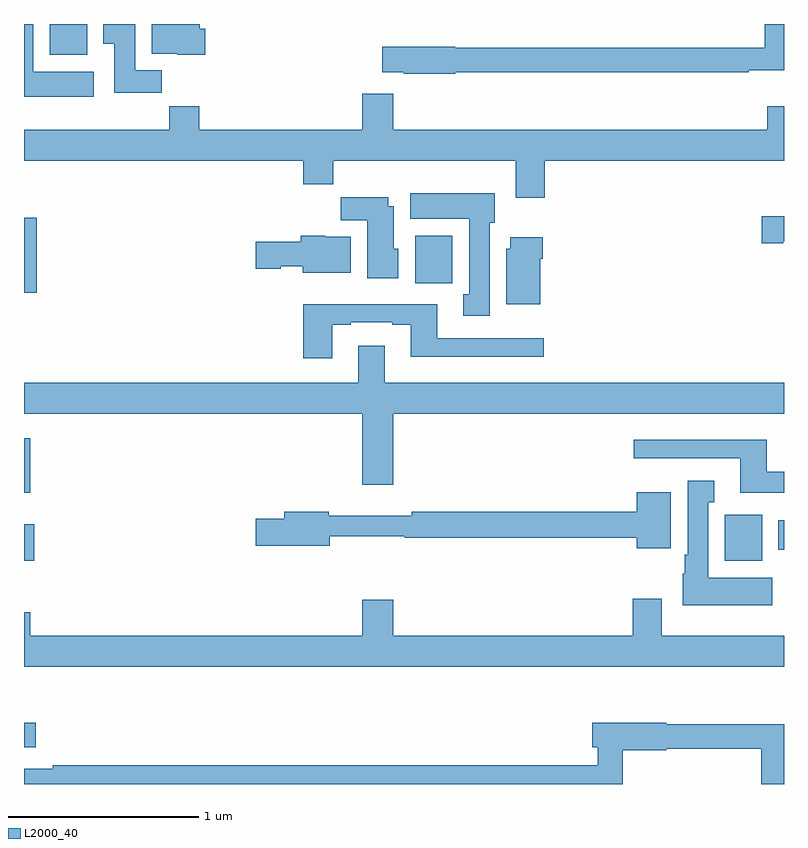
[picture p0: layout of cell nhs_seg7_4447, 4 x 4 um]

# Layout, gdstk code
import gdstk
lib = gdstk.Library(unit=1e-6, precision=1e-09)
def R(c, l, rs):  # rectangles x0, y0, x1, y1
    for r in rs: c.add(gdstk.rectangle(r[:2], r[2:], *l))
def P(c, l, *ps):  # polygons
    for p in ps: c.add(gdstk.Polygon(p, *l))
L2000_40 = (2000, 40)

nhs_seg7_4447 = lib.new_cell('nhs_seg7_4447')
R(nhs_seg7_4447, L2000_40, [(391,1000.193,391.063,1000.323), (391,1001.174,391.054,1001.368), (394.688,1001.174,394.885,1001.416), (394.97,1001.233,395,1001.389), (391,1001.534,391.034,1001.821), (391,1002.585,391.067,1002.979), (393.059,1002.636,393.255,1002.886), (391.136,1003.838,391.333,1004)])
P(nhs_seg7_4447, L2000_40, [(393.27,1003.746),(394.814,1003.746),(394.814,1003.757),(395,1003.757),(395,1004),(394.898,1004),(394.898,1003.874),(393.27,1003.874),(393.27,1003.88),(392.886,1003.88),(392.886,1003.745),(392.998,1003.745),(392.998,1003.738),(393.27,1003.738)],
  [(391.955,1003.974),(391.924,1003.974),(391.924,1004),(391.673,1004),(391.673,1003.844),(391.806,1003.844),(391.806,1003.838),(391.955,1003.838)],
  [(391.724,1003.756),(391.585,1003.756),(391.585,1004),(391.418,1004),(391.418,1003.897),(391.475,1003.897),(391.475,1003.638),(391.724,1003.638)],
  [(391.366,1003.75),(391.048,1003.75),(391.048,1004),(391,1004),(391,1003.616),(391.366,1003.616)],
  [(393.74,1003.28),(395,1003.28),(395,1003.568),(394.913,1003.568),(394.913,1003.444),(392.944,1003.444),(392.944,1003.633),(392.78,1003.633),(392.78,1003.444),(391.922,1003.444),(391.922,1003.568),(391.765,1003.568),(391.765,1003.444),(391,1003.444),(391,1003.28),(392.471,1003.28),(392.471,1003.156),(392.627,1003.156),(392.627,1003.28),(393.587,1003.28),(393.587,1003.086),(393.74,1003.086)],
  [(393.451,1002.954),(393.478,1002.954),(393.478,1003.108),(393.032,1003.108),(393.032,1002.974),(393.344,1002.974),(393.344,1002.577),(393.311,1002.577),(393.311,1002.465),(393.451,1002.465)],
  [(392.971,1002.816),(392.947,1002.816),(392.947,1003.042),(392.917,1003.042),(392.917,1003.087),(392.668,1003.087),(392.668,1002.968),(392.807,1002.968),(392.807,1002.662),(392.971,1002.662)],
  [(394.996,1002.857),(395,1002.857),(395,1002.987),(394.884,1002.987),(394.884,1002.845),(394.996,1002.845)],
  [(392.719,1002.88),(392.586,1002.88),(392.586,1002.886),(392.456,1002.886),(392.456,1002.855),(392.22,1002.855),(392.22,1002.713),(392.352,1002.713),(392.352,1002.725),(392.468,1002.725),(392.468,1002.692),(392.719,1002.692)],
  [(393.718,1002.764),(393.731,1002.764),(393.731,1002.877),(393.56,1002.877),(393.56,1002.816),(393.539,1002.816),(393.539,1002.524),(393.718,1002.524)],
  [(392.623,1002.417),(392.719,1002.417),(392.719,1002.429),(392.939,1002.429),(392.939,1002.417),(393.035,1002.417),(393.035,1002.248),(393.736,1002.248),(393.736,1002.345),(393.175,1002.345),(393.175,1002.526),(392.471,1002.526),(392.471,1002.24),(392.623,1002.24)],
  [(392.759,1002.112),(391,1002.112),(391,1001.948),(392.78,1001.948),(392.78,1001.574),(392.944,1001.574),(392.944,1001.948),(395,1001.948),(395,1002.112),(392.899,1002.112),(392.899,1002.307),(392.759,1002.307)],
  [(395,1001.644),(394.909,1001.644),(394.909,1001.812),(394.209,1001.812),(394.209,1001.715),(394.769,1001.715),(394.769,1001.534),(395,1001.534)],
  [(394.939,1001.086),(394.6,1001.086),(394.6,1001.483),(394.633,1001.483),(394.633,1001.596),(394.493,1001.596),(394.493,1001.206),(394.478,1001.206),(394.478,1001.106),(394.466,1001.106),(394.466,1000.94),(394.939,1000.94)],
  [(394.405,1001.536),(394.226,1001.536),(394.226,1001.432),(393.04,1001.432),(393.04,1001.413),(392.604,1001.413),(392.604,1001.432),(392.369,1001.432),(392.369,1001.396),(392.22,1001.396),(392.22,1001.254),(392.608,1001.254),(392.608,1001.304),(393.004,1001.304),(393.004,1001.296),(394.226,1001.296),(394.226,1001.24),(394.405,1001.24)],
  [(395,1000.78),(394.357,1000.78),(394.357,1000.975),(394.205,1000.975),(394.205,1000.78),(392.944,1000.78),(392.944,1000.969),(392.78,1000.969),(392.78,1000.78),(391.034,1000.78),(391.034,1000.904),(391,1000.904),(391,1000.616),(395,1000.616)],
  [(394.151,1000.178),(394.38,1000.178),(394.38,1000.186),(394.88,1000.186),(394.88,1000),(395,1000),(395,1000.315),(394.38,1000.315),(394.38,1000.323),(393.992,1000.323),(393.992,1000.193),(394.019,1000.193),(394.019,1000.1),(391.15,1000.1),(391.15,1000.08),(391,1000.08),(391,1000),(394.151,1000)])

lib.write_gds('nhs_seg7_4447.gds')
